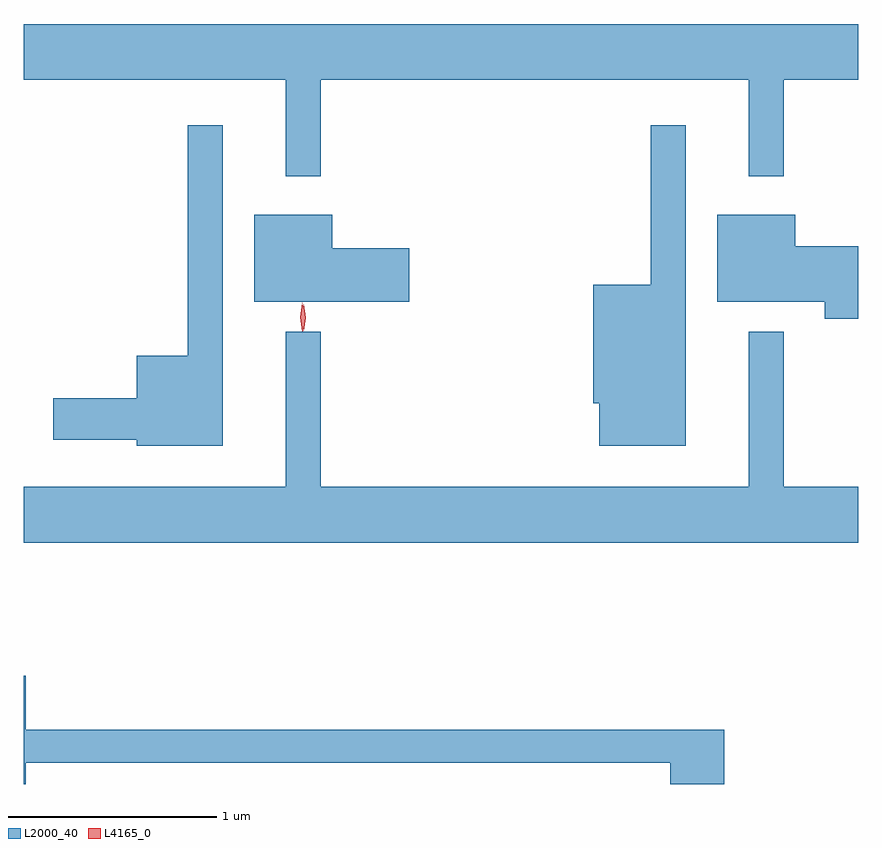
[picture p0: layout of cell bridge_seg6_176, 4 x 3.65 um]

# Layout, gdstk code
import gdstk
lib = gdstk.Library(unit=1e-6, precision=1e-09)
def P(c, l, *ps):  # polygons
    for p in ps: c.add(gdstk.Polygon(p, *l))
L2000_40 = (2000, 40)
L4165_0 = (4165, 0)

bridge_seg6_176 = lib.new_cell('bridge_seg6_176')
P(bridge_seg6_176, L2000_40, [(1067.179,1570.016),(1069.231,1570.016),(1069.231,1569.553),(1069.399,1569.553),(1069.399,1570.016),(1069.756,1570.016),(1069.756,1570.284),(1065.756,1570.284),(1065.756,1570.016),(1067.011,1570.016),(1067.011,1569.553),(1067.179,1569.553)],
  [(1066.709,1569.798),(1066.541,1569.798),(1066.541,1568.694),(1066.296,1568.694),(1066.296,1568.489),(1065.896,1568.489),(1065.896,1568.291),(1066.296,1568.291),(1066.296,1568.261),(1066.709,1568.261)],
  [(1068.929,1569.798),(1068.761,1569.798),(1068.761,1569.034),(1068.486,1569.034),(1068.486,1568.466),(1068.516,1568.466),(1068.516,1568.261),(1068.929,1568.261)],
  [(1067.604,1569.209),(1067.234,1569.209),(1067.234,1569.369),(1066.861,1569.369),(1066.861,1568.951),(1067.604,1568.951)],
  [(1069.756,1569.219),(1069.454,1569.219),(1069.454,1569.369),(1069.081,1569.369),(1069.081,1568.951),(1069.596,1568.951),(1069.596,1568.871),(1069.756,1568.871)],
  [(1069.756,1568.064),(1069.399,1568.064),(1069.399,1568.808),(1069.231,1568.808),(1069.231,1568.064),(1067.179,1568.064),(1067.179,1568.808),(1067.011,1568.808),(1067.011,1568.064),(1065.756,1568.064),(1065.756,1567.796),(1069.756,1567.796)],
  [(1065.764,1566.741),(1068.856,1566.741),(1068.856,1566.639),(1069.114,1566.639),(1069.114,1566.899),(1065.764,1566.899),(1065.764,1567.159),(1065.756,1567.159),(1065.756,1566.639),(1065.764,1566.639)])
P(bridge_seg6_176, L4165_0, [(1067.097,1568.813),(1067.097,1568.813),(1067.087,1568.876),(1067.097,1568.939),(1067.097,1568.94),(1067.098,1568.939),(1067.107,1568.876),(1067.098,1568.813)],
  [(1067.091,1568.81),(1067.091,1568.81),(1067.081,1568.878),(1067.09,1568.945),(1067.09,1568.946),(1067.091,1568.945),(1067.101,1568.878),(1067.092,1568.81)])

lib.write_gds('bridge_seg6_176.gds')
